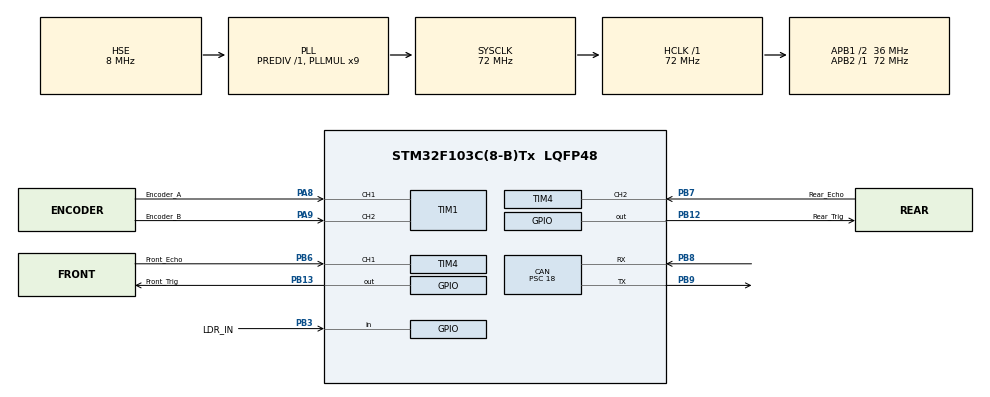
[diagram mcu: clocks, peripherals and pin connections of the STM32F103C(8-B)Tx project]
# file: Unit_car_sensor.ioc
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CAN.ABOM=ENABLE
CAN.BS1=CAN_BS1_2TQ
CAN.CalculateBaudRate=500000
CAN.CalculateTimeBit=2000
CAN.CalculateTimeQuantum=500.0
CAN.NART=ENABLE
CAN.Prescaler=18
CAN.SJW=CAN_SJW_2TQ
FREERTOS.Queues01=CANTxQueue,4,SensorData_t,0,Dynamic,NULL,NULL
FREERTOS.Tasks01=SensorTask,24,256,StartSensorTask,Default,NULL,Dynamic,NULL,NULL;CANTask,24,128,StartCANTask,Default,NULL,Dynamic,NULL,NULL
FREERTOS.configUSE_NEWLIB_REENTRANT=1
Mcu.Family=STM32F1
Mcu.Name=STM32F103C(8-B)Tx
Mcu.Package=LQFP48
NVIC.PriorityGroup=NVIC_PRIORITYGROUP_4
NVIC.TIM3_IRQn=true\:15\:0\:false\:false\:true\:false\:false\:true\:true
NVIC.TIM4_IRQn=true\:5\:0\:false\:false\:true\:true\:true\:true\:true
NVIC.TimeBase=TIM3_IRQn
NVIC.TimeBaseIP=TIM3
PA13.Mode=Serial_Wire
PA13.Signal=SYS_JTMS-SWDIO
PA14.Mode=Serial_Wire
PA14.Signal=SYS_JTCK-SWCLK
PA8.GPIO_Label=Encoder_A
PA8.Signal=S_TIM1_CH1
PA9.GPIO_Label=Encoder_B
PA9.Signal=S_TIM1_CH2
PB12.GPIO_Label=Rear_Trig
PB12.Signal=GPIO_Output
PB13.GPIO_Label=Front_Trig
PB13.Signal=GPIO_Output
PB3.GPIO_Label=LDR_IN
PB3.Signal=GPIO_Input
PB6.GPIO_Label=Front_Echo
PB6.Signal=S_TIM4_CH1
PB7.GPIO_Label=Rear_Echo
PB7.Signal=S_TIM4_CH2
PB8.Mode=CAN_Activate
PB8.Signal=CAN_RX
PB9.Mode=CAN_Activate
PB9.Signal=CAN_TX
PD0-OSC_IN.Mode=HSE-External-Oscillator
PD0-OSC_IN.Signal=RCC_OSC_IN
PD1-OSC_OUT.Mode=HSE-External-Oscillator
PD1-OSC_OUT.Signal=RCC_OSC_OUT
ProjectManager.HeapSize=0x200
ProjectManager.StackSize=0x400
ProjectManager.TargetToolchain=STM32CubeIDE
RCC.AHBFreq_Value=72000000
RCC.APB1CLKDivider=RCC_HCLK_DIV2
RCC.APB1Freq_Value=36000000
RCC.APB1TimFreq_Value=72000000
RCC.APB2Freq_Value=72000000
RCC.APB2TimFreq_Value=72000000
RCC.HCLKFreq_Value=72000000
RCC.PLLMUL=RCC_PLL_MUL9
RCC.PLLSourceVirtual=RCC_PLLSOURCE_HSE
RCC.SYSCLKFreq_VALUE=72000000
RCC.SYSCLKSource=RCC_SYSCLKSOURCE_PLLCLK
RCC.USBFreq_Value=72000000
SH.S_TIM1_CH1.0=TIM1_CH1,Encoder_Interface
SH.S_TIM1_CH2.0=TIM1_CH2,Encoder_Interface
SH.S_TIM4_CH1.0=TIM4_CH1,Input_Capture1_from_TI1
SH.S_TIM4_CH2.0=TIM4_CH2,Input_Capture2_from_TI2
TIM1.EncoderMode=TIM_ENCODERMODE_TI12
TIM1.IC1Filter=0
TIM1.IC2Filter=0
TIM2.Prescaler=72-1
TIM4.Channel-Input_Capture1_from_TI1=TIM_CHANNEL_1
TIM4.Channel-Input_Capture2_from_TI2=TIM_CHANNEL_2
TIM4.Prescaler=72-1
VP_FREERTOS_VS_CMSIS_V2.Mode=CMSIS_V2
VP_SYS_VS_tim3.Mode=TIM3
VP_TIM2_VS_ClockSourceINT.Mode=Internal
board=custom

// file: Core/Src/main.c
/* USER CODE BEGIN Header */
/**
  ******************************************************************************
  * @file           : main.c
  * @brief          : Main program body
  ******************************************************************************
  * @attention
  *
  * Copyright (c) 2025 STMicroelectronics.
  * All rights reserved.
  *
  * This software is licensed under terms that can be found in the LICENSE file
  * in the root directory of this software component.
  * If no LICENSE file comes with this software, it is provided AS-IS.
  *
  ******************************************************************************
  */
/* USER CODE END Header */
#include "main.h"
#include "cmsis_os.h"
#include "can.h"
#include "tim.h"
#include "gpio.h"

/* USER CODE BEGIN Includes */
#include "can_handler.h"
#include "ultrasonic.h"
#include "motor_encoder.h"
/* USER CODE END Includes */

void SystemClock_Config(void);
void MX_FREERTOS_Init(void);

int main(void)
{

  /* MCU Configuration--------------------------------------------------------*/

  /* Reset of all peripherals, Initializes the Flash interface and the Systick. */
  HAL_Init();

  /* Configure the system clock */
  SystemClock_Config();

  /* Initialize all configured peripherals */
  MX_GPIO_Init();
  MX_CAN_Init();
  MX_TIM2_Init();
  MX_TIM4_Init();
  MX_TIM1_Init();
  /* USER CODE BEGIN 2 */
  DWT_Init(); // <<-- 추가: DWT 정밀 타이머 초기화
  /* USER CODE END 2 */

  /* Init scheduler */
  osKernelInitialize();

  /* Call init function for freertos objects (in cmsis_os2.c) */
  MX_FREERTOS_Init();

  /* Start scheduler */
  osKernelStart();

  /* We should never get here as control is now taken by the scheduler */

  /* Infinite loop */
  while (1)
  {

  }
}

void SystemClock_Config(void)
{
  RCC_OscInitTypeDef RCC_OscInitStruct = {0};
  RCC_ClkInitTypeDef RCC_ClkInitStruct = {0};

  /** Initializes the RCC Oscillators according to the specified parameters
  * in the RCC_OscInitTypeDef structure.
  */
  RCC_OscInitStruct.OscillatorType = RCC_OSCILLATORTYPE_HSE;
  RCC_OscInitStruct.HSEState = RCC_HSE_ON;
  RCC_OscInitStruct.HSEPredivValue = RCC_HSE_PREDIV_DIV1;
  RCC_OscInitStruct.HSIState = RCC_HSI_ON;
  RCC_OscInitStruct.PLL.PLLState = RCC_PLL_ON;
  RCC_OscInitStruct.PLL.PLLSource = RCC_PLLSOURCE_HSE;
  RCC_OscInitStruct.PLL.PLLMUL = RCC_PLL_MUL9;
  if (HAL_RCC_OscConfig(&RCC_OscInitStruct) != HAL_OK)
  {
    Error_Handler();
  }

  /** Initializes the CPU, AHB and APB buses clocks
  */
  RCC_ClkInitStruct.ClockType = RCC_CLOCKTYPE_HCLK|RCC_CLOCKTYPE_SYSCLK
                              |RCC_CLOCKTYPE_PCLK1|RCC_CLOCKTYPE_PCLK2;
  RCC_ClkInitStruct.SYSCLKSource = RCC_SYSCLKSOURCE_PLLCLK;
  RCC_ClkInitStruct.AHBCLKDivider = RCC_SYSCLK_DIV1;
  RCC_ClkInitStruct.APB1CLKDivider = RCC_HCLK_DIV2;
  RCC_ClkInitStruct.APB2CLKDivider = RCC_HCLK_DIV1;

  if (HAL_RCC_ClockConfig(&RCC_ClkInitStruct, FLASH_LATENCY_2) != HAL_OK)
  {
    Error_Handler();
  }
}

void HAL_TIM_PeriodElapsedCallback(TIM_HandleTypeDef *htim)
{
  if (htim->Instance == TIM3)
  {
    HAL_IncTick();
  }
}

void Error_Handler(void)
{
  __disable_irq();
  while (1)
  {
  }
}

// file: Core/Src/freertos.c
/* USER CODE BEGIN Header */
/**
  ******************************************************************************
  * File Name          : freertos.c
  * Description        : Code for freertos applications
  ******************************************************************************
  * @attention
  *
  * Copyright (c) 2025 STMicroelectronics.
  * All rights reserved.
  *
  * This software is licensed under terms that can be found in the LICENSE file
  * in the root directory of this software component.
  * If no LICENSE file comes with this software, it is provided AS-IS.
  *
  ******************************************************************************
  */
/* USER CODE END Header */

#include "FreeRTOS.h"
#include "task.h"
#include "main.h"
#include "cmsis_os.h"

/* USER CODE BEGIN Includes */
#include "can_handler.h"
#include "ultrasonic.h"
#include "motor_encoder.h"
#include "tim.h"
/* USER CODE END Includes */

/* Definitions for SensorTask */
osThreadId_t SensorTaskHandle;
const osThreadAttr_t SensorTask_attributes = {
  .name = "SensorTask",
  .stack_size = 256 * 4,
  .priority = (osPriority_t) osPriorityNormal,
};
/* Definitions for CANTask */
osThreadId_t CANTaskHandle;
const osThreadAttr_t CANTask_attributes = {
  .name = "CANTask",
  .stack_size = 128 * 4,
  .priority = (osPriority_t) osPriorityNormal,
};
/* Definitions for CANTxQueue */
osMessageQueueId_t CANTxQueueHandle;
const osMessageQueueAttr_t CANTxQueue_attributes = {
  .name = "CANTxQueue"
};

void StartSensorTask(void *argument);
void StartCANTask(void *argument);

void MX_FREERTOS_Init(void); /* (MISRA C 2004 rule 8.1) */

void MX_FREERTOS_Init(void) {

  /* Create the queue(s) */
  /* creation of CANTxQueue */
  CANTxQueueHandle = osMessageQueueNew (4, sizeof(SensorData_t), &CANTxQueue_attributes);

  /* Create the thread(s) */
  /* creation of SensorTask */
  SensorTaskHandle = osThreadNew(StartSensorTask, NULL, &SensorTask_attributes);

  /* creation of CANTask */
  CANTaskHandle = osThreadNew(StartCANTask, NULL, &CANTask_attributes);

}

void StartSensorTask(void *argument)
{
  /* USER CODE BEGIN StartSensorTask */
	// --- SensorTask 초기화 ---
	Ultrasonic_Init();
	HAL_TIM_Encoder_Start(&htim1, TIM_CHANNEL_ALL);

	// osDelayUntil을 사용하기 위한 변수
	uint32_t last_wake_time = osKernelGetTickCount();
	const uint32_t period_ms = 10; // 10ms 주기
  /* Infinite loop */
	for(;;)
	  {
	    // <<-- 2. 수정된 부분: osDelayUntil 사용법 (CMSIS-RTOS V2) -->>
	    // 다음 깨어날 시간을 계산한 후, 그 시간까지 Task를 지연시킵니다.
	    last_wake_time += period_ms;
	    osDelayUntil(last_wake_time);

	    // 센서 데이터 수집
	    Update_Motor_RPM();
	    Ultrasonic_Trigger();

	    SensorData_t sensor_packet; // 전송할 데이터 패킷

	    // 데이터 패킷 채우기
	    sensor_packet.light_condition = HAL_GPIO_ReadPin(GPIOB, GPIO_PIN_3);
	    sensor_packet.rpm = MotorControl_GetRPM();

	    // ISR과 공유하는 변수 보호 (Critical Section)
	    taskENTER_CRITICAL();
	    sensor_packet.distance_front = distance_front;
	    sensor_packet.distance_rear = distance_rear;
	    taskEXIT_CRITICAL();

	    // 패킷을 Queue로 전송
	    osMessageQueuePut(CANTxQueueHandle, &sensor_packet, 0, 0);
	  }
  /* USER CODE END StartSensorTask */
}

void StartCANTask(void *argument)
{
    /* USER CODE BEGIN StartCANTask */
    // --- CANTask 초기화 ---
    CAN_tx_Init();

    SensorData_t received_packet; // Queue에서 받을 데이터 패킷

    /* Infinite loop */
    for(;;)
        {
			// 1. Queue에 데이터가 들어올 때까지 Block 상태로 대기
			if (osMessageQueueGet(CANTxQueueHandle, &received_packet, NULL, osWaitForever) == osOK)
			{
				// --- 2. 수정된 부분: RPM 값을 2바이트로 분리하여 CAN 데이터 가공 ---

				// 초음파 및 조도 센서 데이터는 기존과 동일
				TxData[0] = (received_packet.distance_front <= 10 || received_packet.distance_rear <= 10);
				TxData[1] = (received_packet.light_condition == GPIO_PIN_SET);

				// RPM 값을 16비트 정수형으로 캐스팅
				uint16_t rpm_value = (uint16_t)received_packet.rpm;

				// RPM 값을 하위(LSB)와 상위(MSB) 바이트로 분리하여 저장
				// 예: RPM이 300 (0x012C)일 경우
				TxData[2] = (uint8_t)(rpm_value & 0x00FF); // 하위 바이트 (LSB): 0x2C
				TxData[3] = (uint8_t)((rpm_value >> 8) & 0x00FF); // 상위 바이트 (MSB): 0x01

				// 3. CAN 메시지 전송
				CAN_Send();
            }
        }
    /* USER CODE END StartCANTask */
}
